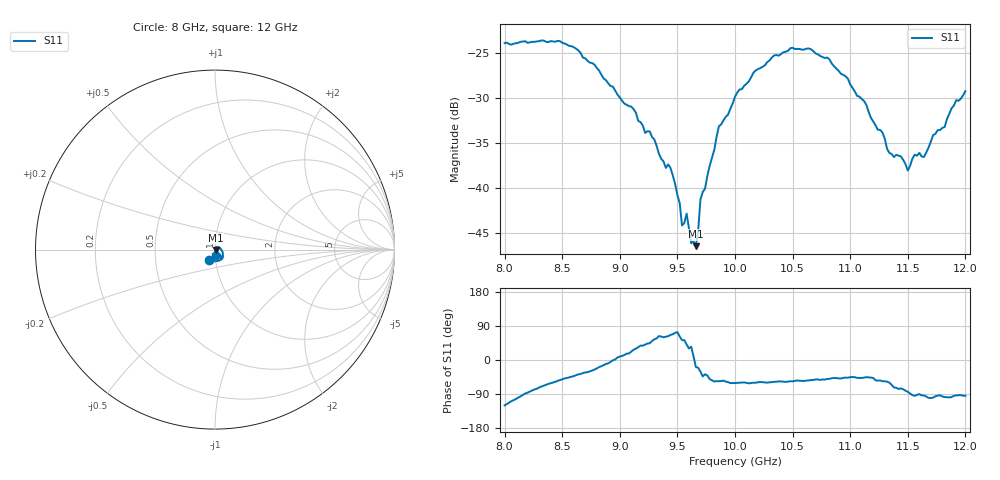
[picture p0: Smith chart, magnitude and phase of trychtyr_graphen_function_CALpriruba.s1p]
#  HZ  S  DB  R  50.00
! Rohde & Schwarz ZVA67 4Ports - Version 3.60 - 1305.7002k04 SN: 101051
! Date: 2012-04-10 10:30:41
! Measurement: S11
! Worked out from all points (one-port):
!   201 points, 8 GHz to 12 GHz, reference 50 ohm
!   lowest |S11| = -46.5 dB at 9.66 GHz (marker M1), VSWR 1.01, Z = 50.5 - j0.15 ohm
!   |S11| at or under -10 dB: start of sweep to end of sweep
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8e9  -23.89 -119.7
8.5e9  -23.84 -50.9
8.78e9  -26.28 -25.3
9e9  -29.93 9.1
9.26e9  -33.72 44.3
9.4e9  -37.78 61.5
9.44e9  -37.78 66.1
9.5e9  -40.79 73.6
9.54e9  -44.18 52.5
9.58e9  -42.87 40.9
9.62e9  -46.16 34.9
9.66e9  -46.49 -18.3
9.68e9  -44.83 -20.4
9.7e9  -41.29 -30.6
9.74e9  -40.08 -37.7
9.86e9  -33.15 -56.2
1e10  -29.85 -60.9
1.018e10  -26.92 -60.0
1.05e10  -24.40 -56.3
1.08e10  -25.49 -50.0
1.1e10  -28.47 -45.3
1.128e10  -33.84 -55.9
1.134e10  -36.10 -59.7
1.144e10  -36.50 -74.9
1.15e10  -38.07 -84.0
1.156e10  -36.31 -94.6
1.164e10  -36.56 -93.6
1.2e10  -29.23 -94.4
